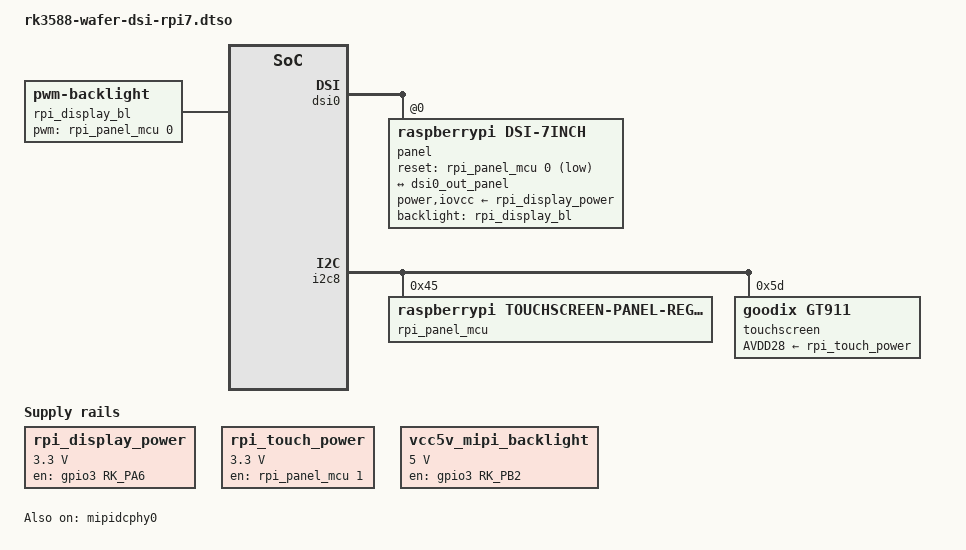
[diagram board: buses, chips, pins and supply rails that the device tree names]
// SPDX-License-Identifier: (GPL-2.0+ OR MIT)
/*
 * Device tree overlay for a Raspberry Pi Touch Display 2 (7", 720x1280)
 * attached to the MIPI DSI connector of the IEI WAFER-RK3588, driven by
 * DSI0 through the Samsung DCPHY0 transmitter.
 *
 * Copyright (c) 2026 IEI Integration Corp.
 */

/dts-v1/;
/plugin/;

#include <dt-bindings/gpio/gpio.h>
#include <dt-bindings/pinctrl/rockchip.h>
#include <dt-bindings/soc/rockchip,vop2.h>

&{/} {
	rpi_display_bl: backlight {
		compatible = "pwm-backlight";
		pwms = <&rpi_panel_mcu 0 255 0>;
	};

	rpi_display_power: regulator-rpi-display {
		compatible = "regulator-fixed";
		regulator-name = "mipi_lcd_3v3";
		regulator-min-microvolt = <3300000>;
		regulator-max-microvolt = <3300000>;
		gpio = <&gpio3 RK_PA6 GPIO_ACTIVE_HIGH>;
		enable-active-high;
		regulator-boot-on;
		startup-delay-us = <10000>;
		regulator-always-on;
	};

	rpi_touch_power: regulator-rpi-touch {
		compatible = "regulator-fixed";
		regulator-name = "rpi-touch";
		regulator-min-microvolt = <3300000>;
		regulator-max-microvolt = <3300000>;
		gpio = <&rpi_panel_mcu 1 GPIO_ACTIVE_HIGH>;
		enable-active-high;
		startup-delay-us = <50000>;
	};

	vcc5v_mipi_backlight: regulator-vcc5v-mipi-backlight {
		compatible = "regulator-fixed";
		regulator-name = "vcc5v_mipi_backlight";
		regulator-min-microvolt = <5000000>;
		regulator-max-microvolt = <5000000>;
		regulator-always-on;
		regulator-boot-on;
		enable-active-high;
		gpio = <&gpio3 RK_PB2 GPIO_ACTIVE_HIGH>;
	};
};

&dsi0 {
	#address-cells = <1>;
	#size-cells = <0>;
	status = "okay";

	panel@0 {
		compatible = "raspberrypi,dsi-7inch", "ilitek,ili9881c";
		reg = <0>;
		backlight = <&rpi_display_bl>;
		power-supply = <&rpi_display_power>;
		iovcc-supply = <&rpi_display_power>;
		reset-gpios = <&rpi_panel_mcu 0 GPIO_ACTIVE_LOW>;

		port {
			mipi_panel_in: endpoint {
				remote-endpoint = <&dsi0_out_panel>;
			};
		};
	};
};

&dsi0_in {
	dsi0_in_vp3: endpoint {
		remote-endpoint = <&vp3_out_dsi0>;
	};
};

&dsi0_out {
	dsi0_out_panel: endpoint {
		remote-endpoint = <&mipi_panel_in>;
	};
};

&i2c8 {
	pinctrl-names = "default";
	pinctrl-0 = <&i2c8m2_xfer>;
	#address-cells = <1>;
	#size-cells = <0>;
	status = "okay";

	rpi_panel_mcu: gpio@45 {
		compatible = "raspberrypi,touchscreen-panel-regulator-v2";
		reg = <0x45>;
		gpio-controller;
		#gpio-cells = <2>;
		#pwm-cells = <3>;
	};

	touchscreen@5d {
		compatible = "goodix,gt911";
		reg = <0x5d>;
		AVDD28-supply = <&rpi_touch_power>;
		touchscreen-size-x = <720>;
		touchscreen-size-y = <1280>;
		touchscreen-x-mm = <90>;
		touchscreen-y-mm = <151>;
	};
};

&mipidcphy0 {
	status = "okay";
};

&vp3 {
	#address-cells = <1>;
	#size-cells = <0>;

	vp3_out_dsi0: endpoint@ROCKCHIP_VOP2_EP_MIPI0 {
		reg = <ROCKCHIP_VOP2_EP_MIPI0>;
		remote-endpoint = <&dsi0_in_vp3>;
	};
};
